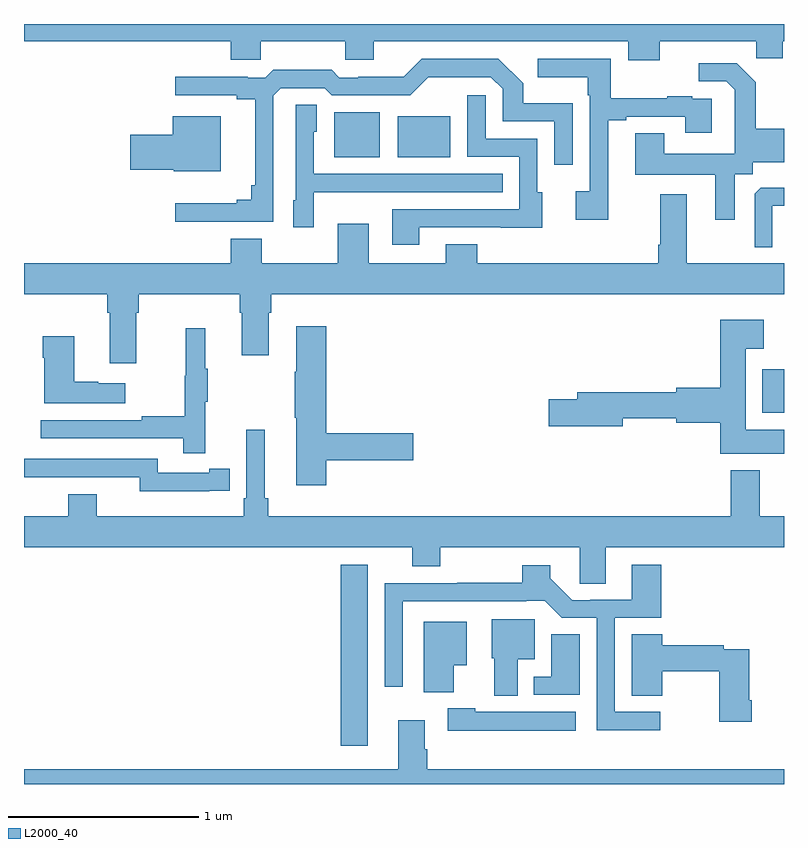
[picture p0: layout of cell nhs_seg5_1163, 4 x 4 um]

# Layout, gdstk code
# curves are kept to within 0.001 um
import gdstk
lib = gdstk.Library(unit=1e-6, precision=1e-09)
def R(c, l, rs):  # rectangles x0, y0, x1, y1
    for r in rs: c.add(gdstk.rectangle(r[:2], r[2:], *l))
def P(c, l, *ps):  # polygons
    for p in ps: c.add(gdstk.Polygon(p, *l))
L2000_40 = (2000, 40)

nhs_seg5_1163 = lib.new_cell('nhs_seg5_1163')
R(nhs_seg5_1163, L2000_40, [(182.666,905.001,182.809,905.953), (184.886,906.752,185,906.982), (182.633,908.099,182.872,908.335), (182.966,908.099,183.244,908.314)])
P(nhs_seg5_1163, L2000_40, [(184.345,908.708),(184.855,908.708),(184.855,908.618),(184.993,908.618),(184.993,908.708),(185,908.708),(185,908.799),(181,908.799),(181,908.708),(182.087,908.708),(182.087,908.61),(182.247,908.61),(182.247,908.708),(182.692,908.708),(182.692,908.61),(182.842,908.61),(182.842,908.708),(184.181,908.708),(184.181,908.609),(184.345,908.609)],
  [(184.075,908.292),(184.171,908.292),(184.171,908.31),(184.481,908.31),(184.481,908.226),(184.621,908.226),(184.621,908.406),(184.517,908.406),(184.517,908.419),(184.385,908.419),(184.385,908.408),(184.087,908.408),(184.087,908.616),(183.705,908.616),(183.705,908.519),(183.966,908.519),(183.966,908.423),(183.978,908.423),(183.978,907.918),(183.903,907.918),(183.903,907.77),(184.075,907.77)],
  [(182.313,908.421),(182.352,908.46),(182.583,908.46),(182.619,908.424),(183.033,908.424),(183.128,908.519),(183.456,908.52),(183.519,908.457),(183.519,908.286),(183.792,908.286),(183.792,908.058),(183.888,908.058),(183.888,908.383),(183.627,908.383),(183.627,908.486),(183.496,908.616),(183.093,908.616),(182.999,908.522),(182.758,908.522),(182.758,908.517),(182.658,908.517),(182.619,908.557),(182.311,908.557),(182.271,908.517),(182.177,908.517),(182.177,908.522),(181.797,908.522),(181.797,908.424),(182.12,908.424),(182.12,908.402),(182.216,908.402),(182.216,907.951),(182.197,907.951),(182.197,907.874),(182.12,907.874),(182.12,907.855),(181.797,907.855),(181.797,907.758),(182.313,907.758)],
  [(184.741,908.008),(184.836,908.008),(184.836,908.072),(185,908.072),(185,908.248),(184.851,908.248),(184.851,908.493),(184.751,908.593),(184.551,908.593),(184.551,908.499),(184.695,908.499),(184.742,908.452),(184.742,908.357),(184.74,908.357),(184.74,908.116),(184.369,908.116),(184.369,908.225),(184.217,908.225),(184.217,908.006),(184.637,908.006),(184.637,907.77),(184.741,907.77)],
  [(183.079,907.728),(183.509,907.728),(183.509,907.727),(183.727,907.727),(183.727,907.914),(183.702,907.914),(183.702,908.196),(183.429,908.196),(183.429,908.425),(183.333,908.425),(183.333,908.1),(183.606,908.1),(183.606,907.824),(182.939,907.824),(182.939,907.638),(183.079,907.638)],
  [(182.526,907.913),(182.843,907.913),(182.843,907.914),(183.521,907.914),(183.521,908.01),(182.526,908.01),(182.526,908.232),(182.542,908.232),(182.542,908.375),(182.43,908.375),(182.43,907.872),(182.417,907.872),(182.417,907.728),(182.526,907.728)],
  [(182.035,908.314),(181.784,908.314),(181.784,908.216),(181.56,908.216),(181.56,908.033),(181.788,908.033),(181.788,908.024),(182.035,908.024)],
  [(184.938,907.842),(185,907.842),(185,907.937),(184.877,907.937),(184.845,907.905),(184.845,907.625),(184.938,907.625)],
  [(181.591,907.28),(181.604,907.28),(181.604,907.376),(182.135,907.376),(182.135,907.28),(182.147,907.28),(182.147,907.056),(182.287,907.056),(182.287,907.28),(182.3,907.28),(182.3,907.376),(185,907.376),(185,907.54),(184.489,907.54),(184.489,907.903),(184.349,907.903),(184.349,907.636),(184.337,907.636),(184.337,907.54),(183.385,907.54),(183.385,907.639),(183.221,907.639),(183.221,907.54),(182.815,907.54),(182.815,907.747),(182.651,907.747),(182.651,907.54),(182.251,907.54),(182.251,907.669),(182.087,907.669),(182.087,907.54),(181,907.54),(181,907.376),(181.439,907.376),(181.439,907.28),(181.451,907.28),(181.451,907.014),(181.591,907.014)],
  [(185,906.664),(184.798,906.664),(184.798,907.091),(184.894,907.091),(184.894,907.243),(184.664,907.243),(184.664,906.884),(184.433,906.884),(184.433,906.86),(183.911,906.86),(183.911,906.824),(183.762,906.824),(183.762,906.682),(184.15,906.682),(184.15,906.724),(184.433,906.724),(184.433,906.701),(184.664,906.701),(184.664,906.536),(185,906.536)],
  [(182.591,906.502),(183.049,906.502),(183.049,906.644),(182.591,906.644),(182.591,907.207),(182.432,907.207),(182.432,906.968),(182.425,906.968),(182.425,906.727),(182.432,906.727),(182.432,906.372),(182.591,906.372)],
  [(181.955,906.811),(181.966,906.811),(181.966,906.985),(181.955,906.985),(181.955,907.198),(181.852,907.198),(181.852,906.948),(181.845,906.948),(181.845,906.734),(181.621,906.734),(181.621,906.714),(181.089,906.714),(181.089,906.618),(181.837,906.618),(181.837,906.54),(181.955,906.54)],
  [(181.534,906.907),(181.391,906.907),(181.391,906.917),(181.264,906.917),(181.264,907.156),(181.099,907.156),(181.099,907.043),(181.106,907.043),(181.106,906.803),(181.534,906.803)],
  [(182.285,906.304),(182.266,906.304),(182.266,906.664),(182.169,906.664),(182.169,906.304),(182.156,906.304),(182.156,906.208),(181.384,906.208),(181.384,906.325),(181.232,906.325),(181.232,906.208),(181,906.208),(181,906.044),(183.044,906.044),(183.044,905.945),(183.192,905.945),(183.192,906.044),(183.924,906.044),(183.924,905.854),(184.063,905.854),(184.063,906.044),(185,906.044),(185,906.208),(184.873,906.208),(184.873,906.451),(184.721,906.451),(184.721,906.208),(182.285,906.208)],
  [(181.976,906.342),(182.084,906.342),(182.084,906.458),(181.976,906.458),(181.976,906.438),(181.704,906.438),(181.704,906.51),(181,906.51),(181,906.413),(181.148,906.413),(181.148,906.414),(181.608,906.414),(181.608,906.341),(181.976,906.341)],
  [(184.348,905.178),(184.11,905.178),(184.11,905.673),(184.355,905.673),(184.355,905.953),(184.199,905.953),(184.199,905.769),(183.979,905.769),(183.979,905.766),(183.885,905.766),(183.769,905.882),(183.769,905.95),(183.622,905.95),(183.622,905.858),(183.28,905.858),(183.28,905.856),(182.898,905.856),(182.898,905.31),(182.994,905.31),(182.994,905.76),(183.644,905.76),(183.644,905.763),(183.74,905.763),(183.83,905.673),(184.014,905.673),(184.014,905.081),(184.348,905.081)],
  [(183.598,905.456),(183.688,905.456),(183.688,905.665),(183.461,905.665),(183.461,905.46),(183.476,905.46),(183.476,905.264),(183.598,905.264)],
  [(183.262,905.423),(183.331,905.423),(183.331,905.653),(183.104,905.653),(183.104,905.283),(183.262,905.283)],
  [(184.829,905.239),(184.816,905.239),(184.816,905.508),(184.682,905.508),(184.682,905.528),(184.36,905.528),(184.36,905.588),(184.199,905.588),(184.199,905.263),(184.36,905.263),(184.36,905.392),(184.658,905.392),(184.658,905.127),(184.829,905.127)],
  [(183.925,905.588),(183.776,905.588),(183.776,905.364),(183.683,905.364),(183.683,905.268),(183.925,905.268)],
  [(183.904,905.179),(183.375,905.179),(183.375,905.197),(183.231,905.197),(183.231,905.078),(183.904,905.078)],
  [(181,904.799),(185,904.799),(185,904.876),(183.122,904.876),(183.122,904.982),(183.109,904.982),(183.109,905.134),(182.969,905.134),(182.969,904.876),(181,904.876)])

lib.write_gds('nhs_seg5_1163.gds')
